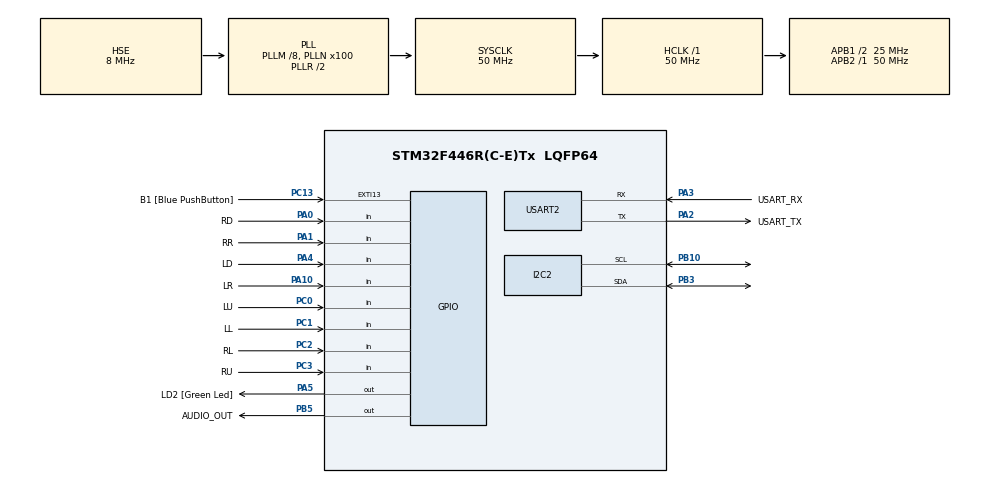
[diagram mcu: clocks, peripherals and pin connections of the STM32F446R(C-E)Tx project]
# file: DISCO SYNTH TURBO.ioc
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I2C2.I2C_Mode=I2C_Fast
Mcu.Family=STM32F4
Mcu.Name=STM32F446R(C-E)Tx
Mcu.Package=LQFP64
NVIC.PriorityGroup=NVIC_PRIORITYGROUP_0
PA0-WKUP.GPIO_Label=RD
PA0-WKUP.GPIO_Mode=GPIO_MODE_INPUT
PA0-WKUP.GPIO_PuPd=GPIO_PULLDOWN
PA0-WKUP.Signal=GPIO_Input
PA1.GPIO_Label=RR
PA1.GPIO_Mode=GPIO_MODE_INPUT
PA1.GPIO_PuPd=GPIO_PULLDOWN
PA1.Signal=GPIO_Input
PA10.GPIO_Label=LR
PA10.GPIO_Mode=GPIO_MODE_INPUT
PA10.GPIO_PuPd=GPIO_PULLDOWN
PA10.Signal=GPIO_Input
PA13.GPIO_Label=TMS
PA13.Mode=Serial_Wire
PA13.Signal=SYS_JTMS-SWDIO
PA14.GPIO_Label=TCK
PA14.Mode=Serial_Wire
PA14.Signal=SYS_JTCK-SWCLK
PA2.GPIO_Label=USART_TX
PA2.Mode=Asynchronous
PA2.Signal=USART2_TX
PA3.GPIO_Label=USART_RX
PA3.Mode=Asynchronous
PA3.Signal=USART2_RX
PA4.GPIO_Label=LD
PA4.GPIO_Mode=GPIO_MODE_INPUT
PA4.GPIO_PuPd=GPIO_PULLDOWN
PA4.Signal=GPIO_Input
PA5.GPIO_Label=LD2 [Green Led]
PA5.Signal=GPIO_Output
PB10.Mode=I2C
PB10.Signal=I2C2_SCL
PB3.Mode=I2C
PB3.Signal=I2C2_SDA
PB5.GPIO_Label=AUDIO_OUT
PB5.GPIO_Speed=GPIO_SPEED_FREQ_VERY_HIGH
PB5.PinState=GPIO_PIN_SET
PB5.Signal=GPIO_Output
PC0.GPIO_Label=LU
PC0.GPIO_Mode=GPIO_MODE_INPUT
PC0.GPIO_PuPd=GPIO_PULLDOWN
PC0.Signal=GPIO_Input
PC1.GPIO_Label=LL
PC1.GPIO_Mode=GPIO_MODE_INPUT
PC1.GPIO_PuPd=GPIO_PULLDOWN
PC1.Signal=GPIO_Input
PC13.GPIO_Label=B1 [Blue PushButton]
PC13.GPIO_ModeDefaultEXTI=GPIO_MODE_IT_FALLING
PC13.Signal=GPXTI13
PC14-OSC32_IN.Mode=LSE-External-Oscillator
PC14-OSC32_IN.Signal=RCC_OSC32_IN
PC15-OSC32_OUT.Mode=LSE-External-Oscillator
PC15-OSC32_OUT.Signal=RCC_OSC32_OUT
PC2.GPIO_Label=RL
PC2.GPIO_Mode=GPIO_MODE_INPUT
PC2.GPIO_PuPd=GPIO_PULLDOWN
PC2.Signal=GPIO_Input
PC3.GPIO_Label=RU
PC3.GPIO_Mode=GPIO_MODE_INPUT
PC3.GPIO_PuPd=GPIO_PULLDOWN
PC3.Signal=GPIO_Input
PH0-OSC_IN.Mode=HSE-External-Oscillator
PH0-OSC_IN.Signal=RCC_OSC_IN
PH1-OSC_OUT.Mode=HSE-External-Oscillator
PH1-OSC_OUT.Signal=RCC_OSC_OUT
ProjectManager.HeapSize=0x200
ProjectManager.StackSize=0x400
ProjectManager.TargetToolchain=STM32CubeIDE
RCC.48MHZClocksFreq_Value=84000000
RCC.AHBFreq_Value=50000000
RCC.APB1CLKDivider=RCC_HCLK_DIV2
RCC.APB1Freq_Value=25000000
RCC.APB1TimFreq_Value=50000000
RCC.APB2Freq_Value=50000000
RCC.APB2TimFreq_Value=50000000
RCC.CortexFreq_Value=50000000
RCC.FLatency-AdvancedSettings=FLASH_LATENCY_1
RCC.HCLKFreq_Value=50000000
RCC.HSE_VALUE=8000000
RCC.HSI_VALUE=16000000
RCC.PLLM=8
RCC.PLLN=100
RCC.PLLSourceVirtual=RCC_PLLSOURCE_HSE
RCC.SYSCLKFreq_VALUE=50000000
RCC.SYSCLKSource=RCC_SYSCLKSOURCE_PLLRCLK
RCC.USBFreq_Value=50000000
RCC.VCOOutputFreq_Value=100000000
STMicroelectronics.X-CUBE-TOUCHGFX.4.13.0.ApplicationCcGraphicsJjApplication=TouchGFXOoGenerator
USART2.VirtualMode=VM_ASYNC
board=NUCLEO-F446RE

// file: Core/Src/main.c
/* USER CODE BEGIN Header */
/**
  ******************************************************************************
  * @file           : main.c
  * @brief          : Main program body
  ******************************************************************************
  * @attention
  *
  * <h2><center>&copy; Copyright (c) 2020 STMicroelectronics.
  * All rights reserved.</center></h2>
  *
  * This software component is licensed by ST under BSD 3-Clause license,
  * the "License"; You may not use this file except in compliance with the
  * License. You may obtain a copy of the License at:
  *                        opensource.org/licenses/BSD-3-Clause
  *
  ******************************************************************************
  */
/* USER CODE END Header */

#include "main.h"

/* USER CODE BEGIN Includes */
#include "fonts.h"
#include "ssd1306.h"
#include "test.h"
#include "math.h"
/* USER CODE END Includes */

I2C_HandleTypeDef hi2c2;

UART_HandleTypeDef huart2;

void SystemClock_Config(void);
static void MX_GPIO_Init(void);
static void MX_USART2_UART_Init(void);
static void MX_I2C2_Init(void);

int main(void)
{

  /* MCU Configuration--------------------------------------------------------*/

  /* Reset of all peripherals, Initializes the Flash interface and the Systick. */
  HAL_Init();

  /* Configure the system clock */
  SystemClock_Config();

  /* Initialize all configured peripherals */
  MX_GPIO_Init();
  MX_USART2_UART_Init();
  MX_I2C2_Init();
  /* USER CODE BEGIN 2 */

    /// lets print some string

  /* USER CODE END 2 */

  /* Infinite loop */
  /* USER CODE BEGIN WHILE */
  float pitch=1.0;
  int count=0;

    /* USER CODE END WHILE */

    /* USER CODE BEGIN 3 */
  while (1)
  {

	  if(HAL_GPIO_ReadPin(GPIOC,RU_Pin))
	 	 {
		  	  if(count%7==0)
		  	 // HAL_Delay(((int)(count*(sin(count)+1)))%15+pitch);
		  	  HAL_GPIO_TogglePin(GPIOB, AUDIO_OUT_Pin);
		  	  HAL_Delay((((int)(pitch*(sin(count+pitch)+1)))%15));
		  	  HAL_GPIO_TogglePin(GPIOB, AUDIO_OUT_Pin);

	 	 }

	  if(HAL_GPIO_ReadPin(GPIOA,RR_Pin))
	  	  	 	 {

		  	  	  	  HAL_Delay(pitch+1);
		  		  	  HAL_GPIO_TogglePin(GPIOB, AUDIO_OUT_Pin);

	  	  	 	 }

	  if(HAL_GPIO_ReadPin(GPIOA,RD_Pin))
	  	  	 	 {

		  	  	  	  HAL_Delay(((int)(pitch*(sin(pitch*count*16)+1)))%3);

		  		  	  HAL_GPIO_TogglePin(GPIOB, AUDIO_OUT_Pin);
	  	  	 	 }

	  if(HAL_GPIO_ReadPin(GPIOC,RL_Pin))
	  	  	  	 	 {

	  		  	  	  	  HAL_Delay(pitch);

	  		  		  	  HAL_GPIO_TogglePin(GPIOB, AUDIO_OUT_Pin);
	  	  	  	 	 }

	  if(HAL_GPIO_ReadPin(GPIOC,LL_Pin)&&pitch>1)
	  {
		  pitch=pitch-1;
		  count=rand()%220;
	  }

	  if(HAL_GPIO_ReadPin(GPIOC,LR_Pin))
	  	  {

	  	  }

  if(HAL_GPIO_ReadPin(GPIOC,LU_Pin) &&pitch<50)
  		  	  {pitch=pitch+1;}

  	  //if(HAL_GPIO_ReadPin(GPIOC,LD_Pin)&&pitch>1&&count%50==0)
  	//  {						PROTOTYPE BUTTON BROKE
  	//	  	pitch=pitch-1;
  	  //}

	  count=(count+1)%220;
  }

  /* USER CODE END 3 */
}

void SystemClock_Config(void)
{
  RCC_OscInitTypeDef RCC_OscInitStruct = {0};
  RCC_ClkInitTypeDef RCC_ClkInitStruct = {0};

  /** Configure the main internal regulator output voltage
  */
  __HAL_RCC_PWR_CLK_ENABLE();
  __HAL_PWR_VOLTAGESCALING_CONFIG(PWR_REGULATOR_VOLTAGE_SCALE3);
  /** Initializes the CPU, AHB and APB busses clocks
  */
  RCC_OscInitStruct.OscillatorType = RCC_OSCILLATORTYPE_HSE;
  RCC_OscInitStruct.HSEState = RCC_HSE_ON;
  RCC_OscInitStruct.PLL.PLLState = RCC_PLL_ON;
  RCC_OscInitStruct.PLL.PLLSource = RCC_PLLSOURCE_HSE;
  RCC_OscInitStruct.PLL.PLLM = 8;
  RCC_OscInitStruct.PLL.PLLN = 100;
  RCC_OscInitStruct.PLL.PLLP = RCC_PLLP_DIV2;
  RCC_OscInitStruct.PLL.PLLQ = 2;
  RCC_OscInitStruct.PLL.PLLR = 2;
  if (HAL_RCC_OscConfig(&RCC_OscInitStruct) != HAL_OK)
  {
    Error_Handler();
  }
  /** Initializes the CPU, AHB and APB busses clocks
  */
  RCC_ClkInitStruct.ClockType = RCC_CLOCKTYPE_HCLK|RCC_CLOCKTYPE_SYSCLK
                              |RCC_CLOCKTYPE_PCLK1|RCC_CLOCKTYPE_PCLK2;
  RCC_ClkInitStruct.SYSCLKSource = RCC_SYSCLKSOURCE_PLLRCLK;
  RCC_ClkInitStruct.AHBCLKDivider = RCC_SYSCLK_DIV1;
  RCC_ClkInitStruct.APB1CLKDivider = RCC_HCLK_DIV2;
  RCC_ClkInitStruct.APB2CLKDivider = RCC_HCLK_DIV1;

  if (HAL_RCC_ClockConfig(&RCC_ClkInitStruct, FLASH_LATENCY_1) != HAL_OK)
  {
    Error_Handler();
  }
}

static void MX_I2C2_Init(void)
{

  hi2c2.Instance = I2C2;
  hi2c2.Init.ClockSpeed = 400000;
  hi2c2.Init.DutyCycle = I2C_DUTYCYCLE_2;
  hi2c2.Init.OwnAddress1 = 0;
  hi2c2.Init.AddressingMode = I2C_ADDRESSINGMODE_7BIT;
  hi2c2.Init.DualAddressMode = I2C_DUALADDRESS_DISABLE;
  hi2c2.Init.OwnAddress2 = 0;
  hi2c2.Init.GeneralCallMode = I2C_GENERALCALL_DISABLE;
  hi2c2.Init.NoStretchMode = I2C_NOSTRETCH_DISABLE;
  if (HAL_I2C_Init(&hi2c2) != HAL_OK)
  {
    Error_Handler();
  }

}

static void MX_USART2_UART_Init(void)
{

  huart2.Instance = USART2;
  huart2.Init.BaudRate = 115200;
  huart2.Init.WordLength = UART_WORDLENGTH_8B;
  huart2.Init.StopBits = UART_STOPBITS_1;
  huart2.Init.Parity = UART_PARITY_NONE;
  huart2.Init.Mode = UART_MODE_TX_RX;
  huart2.Init.HwFlowCtl = UART_HWCONTROL_NONE;
  huart2.Init.OverSampling = UART_OVERSAMPLING_16;
  if (HAL_UART_Init(&huart2) != HAL_OK)
  {
    Error_Handler();
  }

}

static void MX_GPIO_Init(void)
{
  GPIO_InitTypeDef GPIO_InitStruct = {0};

  /* GPIO Ports Clock Enable */
  __HAL_RCC_GPIOC_CLK_ENABLE();
  __HAL_RCC_GPIOH_CLK_ENABLE();
  __HAL_RCC_GPIOA_CLK_ENABLE();
  __HAL_RCC_GPIOB_CLK_ENABLE();

  /*Configure GPIO pin Output Level */
  HAL_GPIO_WritePin(LD2_GPIO_Port, LD2_Pin, GPIO_PIN_RESET);

  /*Configure GPIO pin Output Level */
  HAL_GPIO_WritePin(AUDIO_OUT_GPIO_Port, AUDIO_OUT_Pin, GPIO_PIN_SET);

  /*Configure GPIO pin : B1_Pin */
  GPIO_InitStruct.Pin = B1_Pin;
  GPIO_InitStruct.Mode = GPIO_MODE_IT_FALLING;
  GPIO_InitStruct.Pull = GPIO_NOPULL;
  HAL_GPIO_Init(B1_GPIO_Port, &GPIO_InitStruct);

  /*Configure GPIO pins : LU_Pin LL_Pin RL_Pin RU_Pin */
  GPIO_InitStruct.Pin = LU_Pin|LL_Pin|RL_Pin|RU_Pin;
  GPIO_InitStruct.Mode = GPIO_MODE_INPUT;
  GPIO_InitStruct.Pull = GPIO_PULLDOWN;
  HAL_GPIO_Init(GPIOC, &GPIO_InitStruct);

  /*Configure GPIO pins : RD_Pin RR_Pin LD_Pin LR_Pin */
  GPIO_InitStruct.Pin = RD_Pin|RR_Pin|LD_Pin|LR_Pin;
  GPIO_InitStruct.Mode = GPIO_MODE_INPUT;
  GPIO_InitStruct.Pull = GPIO_PULLDOWN;
  HAL_GPIO_Init(GPIOA, &GPIO_InitStruct);

  /*Configure GPIO pin : LD2_Pin */
  GPIO_InitStruct.Pin = LD2_Pin;
  GPIO_InitStruct.Mode = GPIO_MODE_OUTPUT_PP;
  GPIO_InitStruct.Pull = GPIO_NOPULL;
  GPIO_InitStruct.Speed = GPIO_SPEED_FREQ_LOW;
  HAL_GPIO_Init(LD2_GPIO_Port, &GPIO_InitStruct);

  /*Configure GPIO pin : AUDIO_OUT_Pin */
  GPIO_InitStruct.Pin = AUDIO_OUT_Pin;
  GPIO_InitStruct.Mode = GPIO_MODE_OUTPUT_PP;
  GPIO_InitStruct.Pull = GPIO_NOPULL;
  GPIO_InitStruct.Speed = GPIO_SPEED_FREQ_VERY_HIGH;
  HAL_GPIO_Init(AUDIO_OUT_GPIO_Port, &GPIO_InitStruct);

}

void Error_Handler(void)
{
}

/************************ (C) COPYRIGHT STMicroelectronics *****END OF FILE****/
